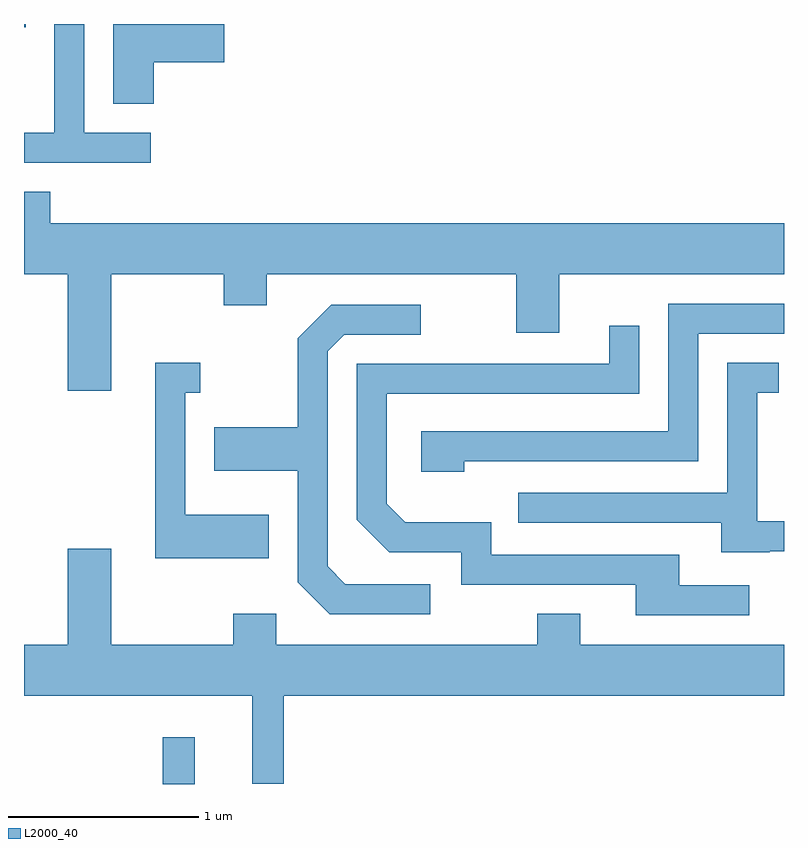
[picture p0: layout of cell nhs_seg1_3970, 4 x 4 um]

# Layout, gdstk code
import gdstk
lib = gdstk.Library(unit=1e-6, precision=1e-09)
def R(c, l, rs):  # rectangles x0, y0, x1, y1
    for r in rs: c.add(gdstk.rectangle(r[:2], r[2:], *l))
def P(c, l, *ps):  # polygons
    for p in ps: c.add(gdstk.Polygon(p, *l))
L2000_40 = (2000, 40)

nhs_seg1_3970 = lib.new_cell('nhs_seg1_3970')
R(nhs_seg1_3970, L2000_40, [(304.341,965.712,304.509,965.958), (303.611,969.696,303.619,969.712)])
P(nhs_seg1_3970, L2000_40, [(304.278,969.139),(303.929,969.139),(303.929,969.712),(303.771,969.712),(303.771,969.139),(303.611,969.139),(303.611,968.981),(304.278,968.981)],
  [(304.294,969.511),(304.664,969.511),(304.664,969.712),(304.081,969.712),(304.081,969.291),(304.294,969.291)],
  [(304.069,968.396),(304.661,968.396),(304.661,968.231),(304.889,968.231),(304.889,968.396),(306.201,968.396),(306.201,968.086),(306.429,968.086),(306.429,968.396),(307.611,968.396),(307.611,968.664),(303.749,968.664),(303.749,968.829),(303.611,968.829),(303.611,968.396),(303.841,968.396),(303.841,967.781),(304.069,967.781)],
  [(305.929,967.411),(307.159,967.411),(307.159,968.081),(307.611,968.081),(307.611,968.239),(307.001,968.239),(307.001,967.569),(305.701,967.569),(305.701,967.356),(305.929,967.356)],
  [(305.748,966.764),(305.302,966.764),(305.209,966.857),(305.209,967.989),(305.297,968.076),(305.698,968.076),(305.698,968.234),(305.229,968.234),(305.051,968.057),(305.051,967.589),(304.611,967.589),(304.611,967.361),(305.051,967.361),(305.051,966.774),(305.219,966.606),(305.748,966.606)],
  [(307.428,966.759),(307.059,966.759),(307.059,966.919),(306.069,966.919),(306.069,967.089),(305.617,967.089),(305.519,967.187),(305.519,967.766),(306.849,967.766),(306.849,968.123),(306.691,968.123),(306.691,967.924),(305.361,967.924),(305.361,967.104),(305.534,966.931),(305.911,966.931),(305.911,966.761),(306.831,966.761),(306.831,966.601),(307.428,966.601)],
  [(304.899,967.129),(304.459,967.129),(304.459,967.771),(304.538,967.771),(304.538,967.929),(304.301,967.929),(304.301,966.901),(304.899,966.901)],
  [(307.535,966.936),(307.611,966.936),(307.611,967.094),(307.469,967.094),(307.469,967.771),(307.583,967.771),(307.583,967.929),(307.311,967.929),(307.311,967.244),(306.213,967.244),(306.213,967.086),(307.281,967.086),(307.281,966.931),(307.535,966.931)],
  [(304.979,966.176),(307.611,966.176),(307.611,966.444),(306.539,966.444),(306.539,966.609),(306.311,966.609),(306.311,966.444),(304.939,966.444),(304.939,966.609),(304.711,966.609),(304.711,966.444),(304.069,966.444),(304.069,966.949),(303.841,966.949),(303.841,966.444),(303.611,966.444),(303.611,966.176),(304.811,966.176),(304.811,965.713),(304.979,965.713)])

lib.write_gds('nhs_seg1_3970.gds')
